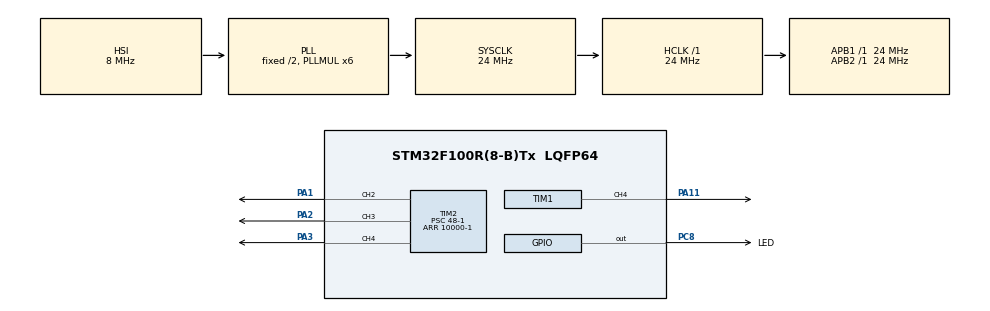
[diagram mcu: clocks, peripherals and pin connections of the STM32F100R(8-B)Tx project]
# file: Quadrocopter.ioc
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Mcu.Family=STM32F1
Mcu.Name=STM32F100R(8-B)Tx
Mcu.Package=LQFP64
NVIC.PriorityGroup=NVIC_PRIORITYGROUP_4
NVIC.TIM2_IRQn=true\:0\:0\:false\:false\:true\:true\:true\:true
PA1.Signal=S_TIM2_CH2
PA11.Signal=S_TIM1_CH4
PA13.Mode=Serial_Wire
PA13.Signal=SYS_JTMS-SWDIO
PA14.Mode=Serial_Wire
PA14.Signal=SYS_JTCK-SWCLK
PA2.Signal=S_TIM2_CH3
PA3.Signal=S_TIM2_CH4
PC8.GPIO_Label=LED
PC8.Signal=GPIO_Output
ProjectManager.HeapSize=0x200
ProjectManager.StackSize=0x400
ProjectManager.TargetToolchain=STM32CubeIDE
RCC.AHBFreq_Value=24000000
RCC.APB1Freq_Value=24000000
RCC.APB1TimFreq_Value=24000000
RCC.APB2Freq_Value=24000000
RCC.APB2TimFreq_Value=24000000
RCC.HCLKFreq_Value=24000000
RCC.PLLMUL=RCC_PLL_MUL6
RCC.SYSCLKFreq_VALUE=24000000
RCC.SYSCLKSource=RCC_SYSCLKSOURCE_PLLCLK
SH.S_TIM1_CH4.0=TIM1_CH4,PWM Generation4 CH4
SH.S_TIM2_CH2.0=TIM2_CH2,PWM Generation2 CH2
SH.S_TIM2_CH3.0=TIM2_CH3,PWM Generation3 CH3
SH.S_TIM2_CH4.0=TIM2_CH4,PWM Generation4 CH4
TIM1.Channel-PWM\ Generation4\ CH4=TIM_CHANNEL_4
TIM2.Channel-PWM\ Generation2\ CH2=TIM_CHANNEL_2
TIM2.Channel-PWM\ Generation3\ CH3=TIM_CHANNEL_3
TIM2.Channel-PWM\ Generation4\ CH4=TIM_CHANNEL_4
TIM2.Period=10000-1
TIM2.Prescaler=48-1
TIM2.Pulse-PWM\ Generation2\ CH2=1000-1
TIM2.Pulse-PWM\ Generation3\ CH3=1000-1
TIM2.Pulse-PWM\ Generation4\ CH4=1000-1
VP_TIM1_VS_ClockSourceINT.Mode=Internal
VP_TIM2_VS_ClockSourceINT.Mode=Internal
board=custom

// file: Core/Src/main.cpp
/* USER CODE BEGIN Header */
/**
  ******************************************************************************
  * @file           : main.c
  * @brief          : Main program body
  ******************************************************************************
  * @attention
  *
  * Copyright (c) 2023 STMicroelectronics.
  * All rights reserved.
  *
  * This software is licensed under terms that can be found in the LICENSE file
  * in the root directory of this software component.
  * If no LICENSE file comes with this software, it is provided AS-IS.
  *
  ******************************************************************************
  */
/* USER CODE END Header */
#include "main.h"

/* USER CODE BEGIN Includes */
#include "stm32f1xx_it.h"
#include "../../servo/servo.h"
/* USER CODE END Includes */

TIM_HandleTypeDef htim1;
TIM_HandleTypeDef htim2;

/* USER CODE BEGIN PV */
servo_motor servo(&htim2, 2);

/* USER CODE END PV */

void SystemClock_Config(void);
static void MX_GPIO_Init(void);
static void MX_TIM1_Init(void);
static void MX_TIM2_Init(void);

/* USER CODE BEGIN 0 */
void HAL_TIM_PeriodElapsedCallback(TIM_HandleTypeDef *htim)
{
	if(htim->Instance == TIM2)
	{
		servo.refresh_value();
	}
}

/* USER CODE END 0 */

int main(void)
{

  /* MCU Configuration--------------------------------------------------------*/

  /* Reset of all peripherals, Initializes the Flash interface and the Systick. */
  HAL_Init();

  /* Configure the system clock */
  SystemClock_Config();

  /* USER CODE BEGIN SysInit */
  HAL_TIM_Base_Start(&htim2);
  HAL_TIM_PWM_Init(&htim2);
  HAL_TIM_PWM_Start(&htim2, TIM_CHANNEL_2);
  HAL_TIM_Base_Start_IT(&htim2);
  /* USER CODE END SysInit */

  /* Initialize all configured peripherals */
  MX_GPIO_Init();
  MX_TIM1_Init();
  MX_TIM2_Init();
  /* USER CODE BEGIN 2 */
  servo.change_value(1);
  /* USER CODE END 2 */

  /* Infinite loop */
  /* USER CODE BEGIN WHILE */
  int val = 1;
  while (1)
  {
    /* USER CODE END WHILE */

    /* USER CODE BEGIN 3 */

	HAL_Delay(1000);

	HAL_GPIO_WritePin(LED_GPIO_Port, LED_Pin, GPIO_PIN_SET);

	val = 1;

	servo.change_value(val);

	HAL_Delay(1000);

	HAL_GPIO_WritePin(LED_GPIO_Port, LED_Pin, GPIO_PIN_RESET);

	val = 2;

	servo.change_value(val);

  }
  /* USER CODE END 3 */
}

void SystemClock_Config(void)
{
  RCC_OscInitTypeDef RCC_OscInitStruct = {0};
  RCC_ClkInitTypeDef RCC_ClkInitStruct = {0};

  /** Initializes the RCC Oscillators according to the specified parameters
  * in the RCC_OscInitTypeDef structure.
  */
  RCC_OscInitStruct.OscillatorType = RCC_OSCILLATORTYPE_HSI;
  RCC_OscInitStruct.HSIState = RCC_HSI_ON;
  RCC_OscInitStruct.HSICalibrationValue = RCC_HSICALIBRATION_DEFAULT;
  RCC_OscInitStruct.PLL.PLLState = RCC_PLL_ON;
  RCC_OscInitStruct.PLL.PLLSource = RCC_PLLSOURCE_HSI_DIV2;
  RCC_OscInitStruct.PLL.PLLMUL = RCC_PLL_MUL6;
  if (HAL_RCC_OscConfig(&RCC_OscInitStruct) != HAL_OK)
  {
    Error_Handler();
  }

  /** Initializes the CPU, AHB and APB buses clocks
  */
  RCC_ClkInitStruct.ClockType = RCC_CLOCKTYPE_HCLK|RCC_CLOCKTYPE_SYSCLK
                              |RCC_CLOCKTYPE_PCLK1|RCC_CLOCKTYPE_PCLK2;
  RCC_ClkInitStruct.SYSCLKSource = RCC_SYSCLKSOURCE_PLLCLK;
  RCC_ClkInitStruct.AHBCLKDivider = RCC_SYSCLK_DIV1;
  RCC_ClkInitStruct.APB1CLKDivider = RCC_HCLK_DIV1;
  RCC_ClkInitStruct.APB2CLKDivider = RCC_HCLK_DIV1;

  if (HAL_RCC_ClockConfig(&RCC_ClkInitStruct, FLASH_LATENCY_0) != HAL_OK)
  {
    Error_Handler();
  }
}

static void MX_TIM1_Init(void)
{

  TIM_ClockConfigTypeDef sClockSourceConfig = {0};
  TIM_MasterConfigTypeDef sMasterConfig = {0};
  TIM_OC_InitTypeDef sConfigOC = {0};
  TIM_BreakDeadTimeConfigTypeDef sBreakDeadTimeConfig = {0};

  htim1.Instance = TIM1;
  htim1.Init.Prescaler = 0;
  htim1.Init.CounterMode = TIM_COUNTERMODE_UP;
  htim1.Init.Period = 65535;
  htim1.Init.ClockDivision = TIM_CLOCKDIVISION_DIV1;
  htim1.Init.RepetitionCounter = 0;
  htim1.Init.AutoReloadPreload = TIM_AUTORELOAD_PRELOAD_DISABLE;
  if (HAL_TIM_Base_Init(&htim1) != HAL_OK)
  {
    Error_Handler();
  }
  sClockSourceConfig.ClockSource = TIM_CLOCKSOURCE_INTERNAL;
  if (HAL_TIM_ConfigClockSource(&htim1, &sClockSourceConfig) != HAL_OK)
  {
    Error_Handler();
  }
  if (HAL_TIM_PWM_Init(&htim1) != HAL_OK)
  {
    Error_Handler();
  }
  sMasterConfig.MasterOutputTrigger = TIM_TRGO_RESET;
  sMasterConfig.MasterSlaveMode = TIM_MASTERSLAVEMODE_DISABLE;
  if (HAL_TIMEx_MasterConfigSynchronization(&htim1, &sMasterConfig) != HAL_OK)
  {
    Error_Handler();
  }
  sConfigOC.OCMode = TIM_OCMODE_PWM1;
  sConfigOC.Pulse = 0;
  sConfigOC.OCPolarity = TIM_OCPOLARITY_HIGH;
  sConfigOC.OCFastMode = TIM_OCFAST_DISABLE;
  sConfigOC.OCIdleState = TIM_OCIDLESTATE_RESET;
  sConfigOC.OCNIdleState = TIM_OCNIDLESTATE_RESET;
  if (HAL_TIM_PWM_ConfigChannel(&htim1, &sConfigOC, TIM_CHANNEL_4) != HAL_OK)
  {
    Error_Handler();
  }
  sBreakDeadTimeConfig.OffStateRunMode = TIM_OSSR_DISABLE;
  sBreakDeadTimeConfig.OffStateIDLEMode = TIM_OSSI_DISABLE;
  sBreakDeadTimeConfig.LockLevel = TIM_LOCKLEVEL_OFF;
  sBreakDeadTimeConfig.DeadTime = 0;
  sBreakDeadTimeConfig.BreakState = TIM_BREAK_DISABLE;
  sBreakDeadTimeConfig.BreakPolarity = TIM_BREAKPOLARITY_HIGH;
  sBreakDeadTimeConfig.AutomaticOutput = TIM_AUTOMATICOUTPUT_DISABLE;
  if (HAL_TIMEx_ConfigBreakDeadTime(&htim1, &sBreakDeadTimeConfig) != HAL_OK)
  {
    Error_Handler();
  }
  HAL_TIM_MspPostInit(&htim1);

}

static void MX_TIM2_Init(void)
{

  TIM_ClockConfigTypeDef sClockSourceConfig = {0};
  TIM_MasterConfigTypeDef sMasterConfig = {0};
  TIM_OC_InitTypeDef sConfigOC = {0};

  htim2.Instance = TIM2;
  htim2.Init.Prescaler = 48-1;
  htim2.Init.CounterMode = TIM_COUNTERMODE_UP;
  htim2.Init.Period = 10000-1;
  htim2.Init.ClockDivision = TIM_CLOCKDIVISION_DIV1;
  htim2.Init.AutoReloadPreload = TIM_AUTORELOAD_PRELOAD_DISABLE;
  if (HAL_TIM_Base_Init(&htim2) != HAL_OK)
  {
    Error_Handler();
  }
  sClockSourceConfig.ClockSource = TIM_CLOCKSOURCE_INTERNAL;
  if (HAL_TIM_ConfigClockSource(&htim2, &sClockSourceConfig) != HAL_OK)
  {
    Error_Handler();
  }
  if (HAL_TIM_PWM_Init(&htim2) != HAL_OK)
  {
    Error_Handler();
  }
  sMasterConfig.MasterOutputTrigger = TIM_TRGO_RESET;
  sMasterConfig.MasterSlaveMode = TIM_MASTERSLAVEMODE_DISABLE;
  if (HAL_TIMEx_MasterConfigSynchronization(&htim2, &sMasterConfig) != HAL_OK)
  {
    Error_Handler();
  }
  sConfigOC.OCMode = TIM_OCMODE_PWM1;
  sConfigOC.Pulse = 1000-1;
  sConfigOC.OCPolarity = TIM_OCPOLARITY_HIGH;
  sConfigOC.OCFastMode = TIM_OCFAST_DISABLE;
  if (HAL_TIM_PWM_ConfigChannel(&htim2, &sConfigOC, TIM_CHANNEL_2) != HAL_OK)
  {
    Error_Handler();
  }
  if (HAL_TIM_PWM_ConfigChannel(&htim2, &sConfigOC, TIM_CHANNEL_3) != HAL_OK)
  {
    Error_Handler();
  }
  if (HAL_TIM_PWM_ConfigChannel(&htim2, &sConfigOC, TIM_CHANNEL_4) != HAL_OK)
  {
    Error_Handler();
  }
  HAL_TIM_MspPostInit(&htim2);

}

static void MX_GPIO_Init(void)
{
  GPIO_InitTypeDef GPIO_InitStruct = {0};

  /* GPIO Ports Clock Enable */
  __HAL_RCC_GPIOA_CLK_ENABLE();
  __HAL_RCC_GPIOC_CLK_ENABLE();

  /*Configure GPIO pin Output Level */
  HAL_GPIO_WritePin(LED_GPIO_Port, LED_Pin, GPIO_PIN_RESET);

  /*Configure GPIO pin : LED_Pin */
  GPIO_InitStruct.Pin = LED_Pin;
  GPIO_InitStruct.Mode = GPIO_MODE_OUTPUT_PP;
  GPIO_InitStruct.Pull = GPIO_NOPULL;
  GPIO_InitStruct.Speed = GPIO_SPEED_FREQ_LOW;
  HAL_GPIO_Init(LED_GPIO_Port, &GPIO_InitStruct);

}

void Error_Handler(void)
{
  __disable_irq();
  while (1)
  {
  }
}
